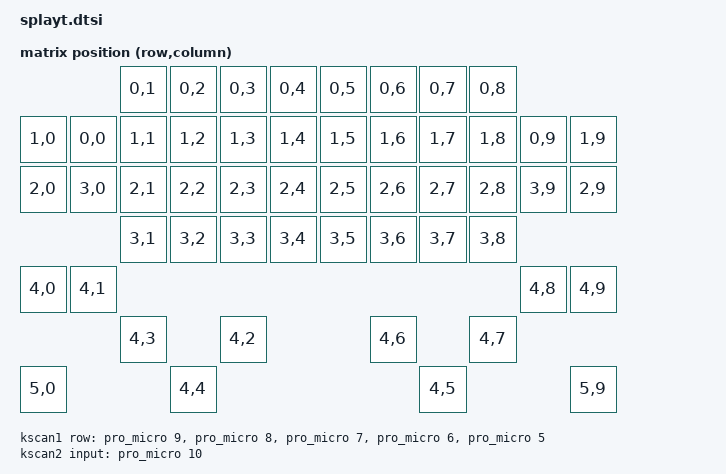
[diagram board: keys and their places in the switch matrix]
#include "splayt-layouts.dtsi"
#include <dt-bindings/zmk/matrix_transform.h>

/ {
    chosen {
        zmk,kscan = &kscan0;
        zmk,physical-layout = &physical_layout_splayt;
        // zmk,matrix_transform = &matrix_transform0;
        // Other chosen items
    };

    kscan0: kscan_composite {
        compatible = "zmk,kscan-composite";
        rows = <6>;
        columns = <10>;

        // Include the matrix driver
        matrix {
            kscan = <&kscan1>;
        };

        // Include the direct GPIO driver...
        direct {
            kscan = <&kscan2>;
            row-offset = <5>;
        };
    };

    kscan1: kscan_matrix {
        compatible = "zmk,kscan-gpio-matrix";
        diode-direction = "col2row";
        wakeup-source;

        row-gpios
            = <&pro_micro 9 (GPIO_ACTIVE_HIGH | GPIO_PULL_DOWN)>
            , <&pro_micro 8 (GPIO_ACTIVE_HIGH | GPIO_PULL_DOWN)>
            , <&pro_micro 7 (GPIO_ACTIVE_HIGH | GPIO_PULL_DOWN)>
            , <&pro_micro 6 (GPIO_ACTIVE_HIGH | GPIO_PULL_DOWN)>
            , <&pro_micro 5 (GPIO_ACTIVE_HIGH | GPIO_PULL_DOWN)>
            ;
    };

    kscan2: kscan_direct {
        compatible = "zmk,kscan-gpio-direct";
        wakeup-source;
        input-gpios = <&pro_micro 10 (GPIO_ACTIVE_LOW | GPIO_PULL_UP)>;
    };

    matrix_transform0: matrix_transform0 {
        compatible = "zmk,matrix-transform";
        columns = <10>;
        rows = <6>;
        map = <

//                              ╭─────────┬─────────┬─────────┬─────────╮       ╭─────────┬─────────┬─────────┬─────────╮
                                  RC(0,1)   RC(0,2)   RC(0,3)   RC(0,4)           RC(0,5)   RC(0,6)   RC(0,7)   RC(0,8)
//      ╭─────────┬─────────╮   ├─────────┼─────────┼─────────┼─────────┤       ├─────────┼─────────┼─────────┼─────────┤   ╭─────────┬─────────╮
          RC(1,0)   RC(0,0)       RC(1,1)   RC(1,2)   RC(1,3)   RC(1,4)           RC(1,5)   RC(1,6)   RC(1,7)   RC(1,8)       RC(0,9)   RC(1,9)
//      ├─────────┼─────────┤   ├─────────┼─────────┼─────────┼─────────┤       ├─────────┼─────────┼─────────┼─────────┤   ├─────────┼─────────┤
          RC(2,0)   RC(3,0)       RC(2,1)   RC(2,2)   RC(2,3)   RC(2,4)           RC(2,5)   RC(2,6)   RC(2,7)   RC(2,8)       RC(3,9)   RC(2,9)
//      ╰─────────┴─────────╯   ╰─────────┴─────────┴─────────┴─────────╯       ╰─────────┴─────────┴─────────┴─────────╯   ╰─────────┴─────────╯

//                              ╭─────────┬─────────┬─────────┬─────────╮       ╭─────────┬─────────┬─────────┬─────────╮
                                  RC(3,1)   RC(3,2)   RC(3,3)   RC(3,4)           RC(3,5)   RC(3,6)   RC(3,7)   RC(3,8)
//                              ╰─────────┴─────────┴─────────┴─────────╯       ╰─────────┴─────────┴─────────┴─────────╯

//      ╭─/*ENC*/─╮                       ╭─────────╮                                               ╭─────────╮                       ╭─/*ENC*/─╮
          RC(4,0)                           RC(4,1)                                                   RC(4,8)                          RC(4,9)
//      ╰─────────╯             ╭─────────╯ ─────── ╰─────────╮                           ╭─────────╯ ─────── ╰─────────╮             ╰─────────╯
                                  RC(4,3)   /*DPD*/   RC(4,2)                               RC(4,6)   /*DPD*/   RC(4,7)
//      ╭─/*CAP*/─╮             ╰─────────╮ ─────── ╭─────────╯                           ╰─────────╮ ─────── ╭─────────╯             ╭─/*CAP*/─╮
          RC(5,0)                           RC(4,4)                                                   RC(4,5)                           RC(5,9)
//      ╰─────────╯                       ╰─────────╯                                               ╰─────────╯                       ╰─────────╯
        >;
    };
};

&physical_layout_splayt {
    transform = <&matrix_transform0>;
};

// Encoders for all parts of the keyboard.
// If the encoder(s) are not behaving as expected,
// update steps and triggers-per-rotation to match your hardware.
// All pin assignments are done in the part overlays.

/ {
    encoder_left0: encoder_left0 {
        compatible = "alps,ec11";
        steps = <80>;
        status = "disabled";
    };
    encoder_right0: encoder_right0 {
        compatible = "alps,ec11";
        steps = <80>;
        status = "disabled";
    };

    sensors: sensors {
        compatible = "zmk,keymap-sensors";
        sensors = <&encoder_left0 &encoder_right0>;
        triggers-per-rotation = <20>;
    };
};

// Input devices
/ {
    split_inputs {
        #address-cells = <1>;
        #size-cells = <0>;

        input_split_right0: input_split_right0@0 {
            compatible = "zmk,input-split";
            reg = <0>;
            status = "disabled";
        };
    };

    input_listener_right0: input_listener_right0 {
        compatible = "zmk,input-listener";
        status = "disabled";
        device = <&input_split_right0>;
    };

    trackball_listener {
    compatible = "zmk,input-listener";
    device = <&trackball>;
    };
};

